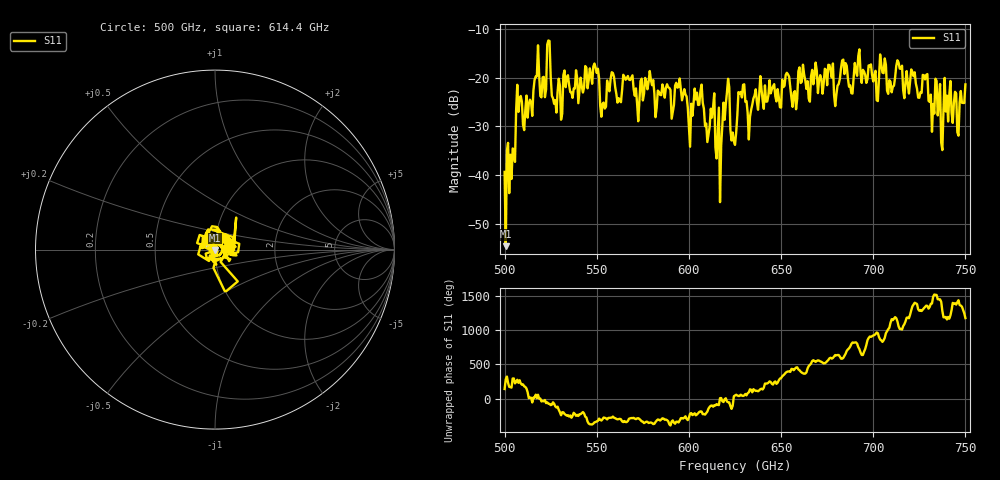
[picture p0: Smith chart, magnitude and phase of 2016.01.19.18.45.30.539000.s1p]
!Created with skrf (http://scikit-rf.org).
# GHz S RI R 50.0
!freq ReS11 ImS11
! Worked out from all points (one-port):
!   401 points, 500 GHz to 750 GHz, reference 50 ohm
!   lowest |S11| = -54.6 dB at 500.6 GHz (marker M1), VSWR 1.00, Z = 50 - j0.183 ohm
!   |S11| at or under -10 dB: start of sweep to end of sweep
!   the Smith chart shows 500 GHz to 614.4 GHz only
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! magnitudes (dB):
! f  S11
! 500 GHz  -39.4
! 500.6 GHz  -54.6
! 504.4 GHz  -34.5
! 507.5 GHz  -27.1
! 511.2 GHz  -26.5
! 517.5 GHz  -19.8
! 531.2 GHz  -27.4
! 549.4 GHz  -18.0
! 553.1 GHz  -25.4
! 558.8 GHz  -19.1
! 562.5 GHz  -24.8
! 593.8 GHz  -22.1
! 600.6 GHz  -34.2
! 612.5 GHz  -28.2
! 615.6 GHz  -31.4
! 620.6 GHz  -23.1
! 625 GHz  -33.8
! 628.8 GHz  -24.1
! 633.1 GHz  -28.1
! 656.2 GHz  -26.0
! 680 GHz  -23.5
! 684.4 GHz  -19.3
! 687.5 GHz  -21.6
! 691.2 GHz  -19.6
! 718.8 GHz  -21.4
! 728.1 GHz  -20.4
! 736.2 GHz  -21.3
! 750 GHz  -21.4
